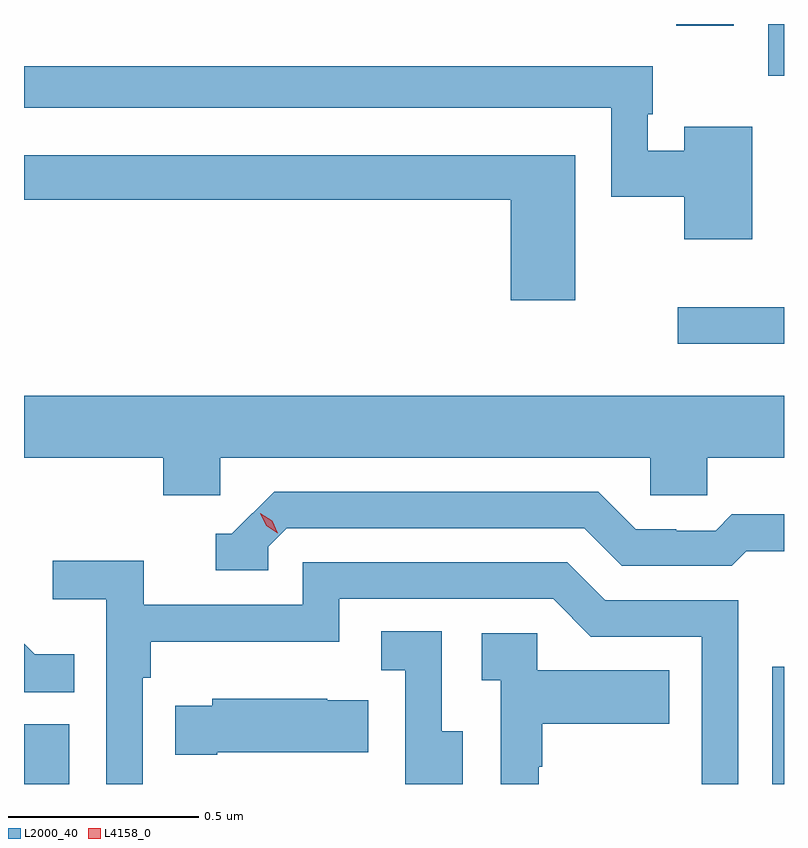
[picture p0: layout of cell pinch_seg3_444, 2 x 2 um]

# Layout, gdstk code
import gdstk
lib = gdstk.Library(unit=1e-6, precision=1e-09)
def R(c, l, rs):  # rectangles x0, y0, x1, y1
    for r in rs: c.add(gdstk.rectangle(r[:2], r[2:], *l))
def P(c, l, *ps):  # polygons
    for p in ps: c.add(gdstk.Polygon(p, *l))
L2000_40 = (2000, 40)
L4158_0 = (4158, 0)

pinch_seg3_444 = lib.new_cell('pinch_seg3_444')
R(pinch_seg3_444, L2000_40, [(927.731,676.082,927.85,676.239), (929.7,676.082,929.731,676.39), (929.451,677.24,929.731,677.337), (929.69,677.946,929.731,678.082), (929.447,678.078,929.599,678.082)])
P(pinch_seg3_444, L2000_40, [(929.647,677.812),(929.468,677.812),(929.468,677.749),(929.373,677.749),(929.373,677.844),(929.386,677.844),(929.386,677.971),(927.731,677.971),(927.731,677.862),(929.277,677.862),(929.277,677.628),(929.468,677.628),(929.468,677.516),(929.647,677.516)],
  [(929.182,677.736),(927.731,677.736),(927.731,677.62),(929.012,677.62),(929.012,677.355),(929.182,677.355)],
  [(928.248,676.94),(929.379,676.94),(929.379,676.842),(929.529,676.842),(929.529,676.94),(929.731,676.94),(929.731,677.104),(927.731,677.104),(927.731,676.94),(928.097,676.94),(928.097,676.842),(928.248,676.842)],
  [(928.374,676.707),(928.422,676.755),(929.205,676.755),(929.304,676.656),(929.593,676.656),(929.632,676.695),(929.731,676.695),(929.731,676.792),(929.593,676.792),(929.551,676.749),(929.448,676.749),(929.448,676.752),(929.341,676.752),(929.242,676.851),(928.389,676.851),(928.278,676.74),(928.235,676.74),(928.235,676.644),(928.374,676.644)],
  [(928.044,676.361),(928.064,676.361),(928.064,676.457),(928.56,676.457),(928.56,676.569),(929.124,676.569),(929.223,676.47),(929.514,676.47),(929.514,676.082),(929.61,676.082),(929.61,676.566),(929.26,676.566),(929.161,676.665),(928.464,676.665),(928.464,676.554),(928.046,676.554),(928.046,676.67),(927.807,676.67),(927.807,676.568),(927.948,676.568),(927.948,676.082),(928.044,676.082)],
  [(928.885,676.221),(928.83,676.221),(928.83,676.484),(928.671,676.484),(928.671,676.381),(928.734,676.381),(928.734,676.082),(928.885,676.082)],
  [(929.085,676.127),(929.095,676.127),(929.095,676.241),(929.429,676.241),(929.429,676.381),(929.082,676.381),(929.082,676.479),(928.935,676.479),(928.935,676.355),(928.986,676.355),(928.986,676.082),(929.085,676.082)],
  [(927.863,676.423),(927.759,676.423),(927.731,676.451),(927.731,676.324),(927.863,676.324)],
  [(928.24,676.166),(928.637,676.166),(928.637,676.303),(928.529,676.303),(928.529,676.306),(928.227,676.306),(928.227,676.288),(928.129,676.288),(928.129,676.159),(928.24,676.159)])
P(pinch_seg3_444, L4158_0, [(928.399,676.742),(928.369,676.762),(928.353,676.795),(928.353,676.795),(928.353,676.795),(928.384,676.775),(928.399,676.742),(928.399,676.742)])

lib.write_gds('pinch_seg3_444.gds')
